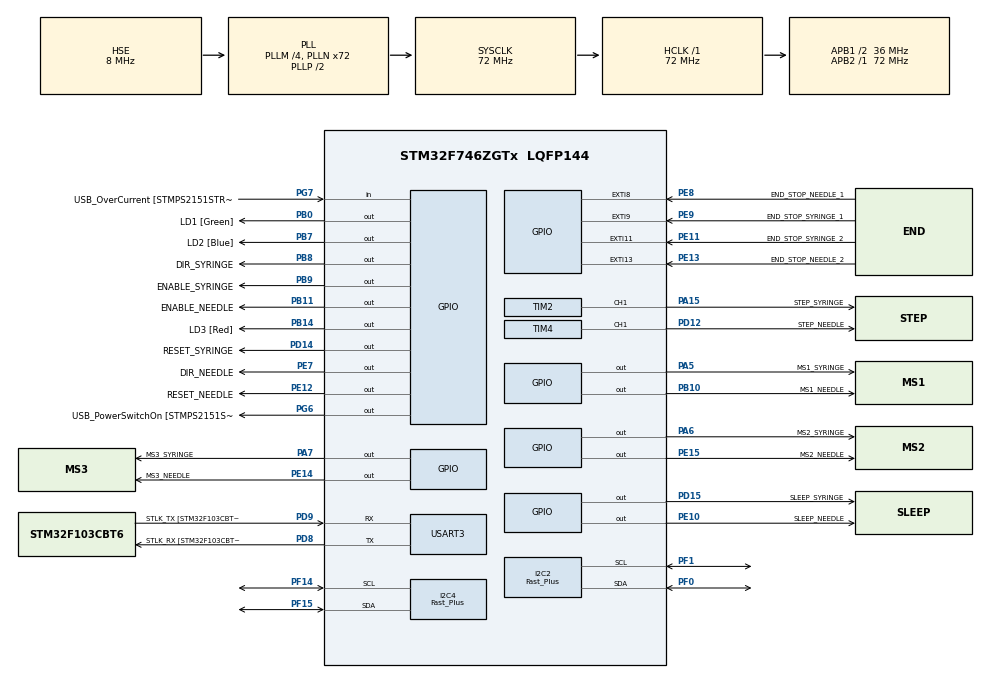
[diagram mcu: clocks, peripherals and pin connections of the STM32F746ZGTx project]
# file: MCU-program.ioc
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I2C2.I2C_Speed_Mode=I2C_Fast_Plus
I2C2.Timing=0x00100515
I2C4.I2C_Speed_Mode=I2C_Fast_Plus
I2C4.Timing=0x00100515
Mcu.Family=STM32F7
Mcu.Name=STM32F746ZGTx
Mcu.Package=LQFP144
NVIC.EXTI15_10_IRQn=true\:0\:0\:false\:false\:true\:true\:true\:true
NVIC.EXTI9_5_IRQn=true\:0\:0\:false\:false\:true\:true\:true\:true
NVIC.PriorityGroup=NVIC_PRIORITYGROUP_4
NVIC.TIM3_IRQn=true\:0\:0\:false\:false\:true\:true\:true\:true
NVIC.TIM5_IRQn=true\:0\:0\:false\:false\:true\:true\:true\:true
NVIC.TIM6_DAC_IRQn=true\:0\:0\:false\:false\:true\:true\:true\:true
NVIC.TIM7_IRQn=true\:0\:0\:false\:false\:true\:true\:true\:true
NVIC.USART3_IRQn=true\:0\:0\:false\:false\:true\:true\:true\:true
PA13.GPIO_Label=TMS
PA13.Mode=Serial_Wire
PA13.Signal=SYS_JTMS-SWDIO
PA14.GPIO_Label=TCK
PA14.Mode=Serial_Wire
PA14.Signal=SYS_JTCK-SWCLK
PA15.GPIO_Label=STEP_SYRINGE
PA15.Signal=S_TIM2_CH1_ETR
PA5.GPIO_Label=MS1_SYRINGE
PA5.Signal=GPIO_Output
PA6.GPIO_Label=MS2_SYRINGE
PA6.Signal=GPIO_Output
PA7.GPIO_Label=MS3_SYRINGE
PA7.Signal=GPIO_Output
PB0.GPIO_Label=LD1 [Green]
PB0.Signal=GPIO_Output
PB10.GPIO_Label=MS1_NEEDLE
PB10.Signal=GPIO_Output
PB11.GPIO_Label=ENABLE_NEEDLE
PB11.Signal=GPIO_Output
PB14.GPIO_Label=LD3 [Red]
PB14.Signal=GPIO_Output
PB7.GPIO_Label=LD2 [Blue]
PB7.Signal=GPIO_Output
PB8.GPIO_Label=DIR_SYRINGE
PB8.Signal=GPIO_Output
PB9.GPIO_Label=ENABLE_SYRINGE
PB9.Signal=GPIO_Output
PC14/OSC32_IN.Mode=LSE-External-Oscillator
PC14/OSC32_IN.Signal=RCC_OSC32_IN
PC15/OSC32_OUT.Mode=LSE-External-Oscillator
PC15/OSC32_OUT.Signal=RCC_OSC32_OUT
PD12.GPIO_Label=STEP_NEEDLE
PD12.Signal=S_TIM4_CH1
PD14.GPIO_Label=RESET_SYRINGE
PD14.Signal=GPIO_Output
PD15.GPIO_Label=SLEEP_SYRINGE
PD15.Signal=GPIO_Output
PD8.GPIO_Label=STLK_RX [STM32F103CBT6_PA3]
PD8.Mode=Asynchronous
PD8.Signal=USART3_TX
PD9.GPIO_Label=STLK_TX [STM32F103CBT6_PA2]
PD9.Mode=Asynchronous
PD9.Signal=USART3_RX
PE10.GPIO_Label=SLEEP_NEEDLE
PE10.Signal=GPIO_Output
PE11.GPIO_Label=END_STOP_SYRINGE_2
PE11.GPIO_ModeDefaultEXTI=GPIO_MODE_IT_FALLING
PE11.GPIO_PuPd=GPIO_PULLUP
PE11.Signal=GPXTI11
PE12.GPIO_Label=RESET_NEEDLE
PE12.Signal=GPIO_Output
PE13.GPIO_Label=END_STOP_NEEDLE_2
PE13.GPIO_ModeDefaultEXTI=GPIO_MODE_IT_FALLING
PE13.GPIO_PuPd=GPIO_PULLUP
PE13.Signal=GPXTI13
PE14.GPIO_Label=MS3_NEEDLE
PE14.Signal=GPIO_Output
PE15.GPIO_Label=MS2_NEEDLE
PE15.Signal=GPIO_Output
PE7.GPIO_Label=DIR_NEEDLE
PE7.Signal=GPIO_Output
PE8.GPIO_Label=END_STOP_NEEDLE_1
PE8.GPIO_ModeDefaultEXTI=GPIO_MODE_IT_FALLING
PE8.GPIO_PuPd=GPIO_PULLUP
PE8.Signal=GPXTI8
PE9.GPIO_Label=END_STOP_SYRINGE_1
PE9.GPIO_ModeDefaultEXTI=GPIO_MODE_IT_FALLING
PE9.GPIO_PuPd=GPIO_PULLUP
PE9.Signal=GPXTI9
PF0.Mode=I2C
PF0.Signal=I2C2_SDA
PF1.Mode=I2C
PF1.Signal=I2C2_SCL
PF14.Mode=I2C
PF14.Signal=I2C4_SCL
PF15.Mode=I2C
PF15.Signal=I2C4_SDA
PG6.GPIO_Label=USB_PowerSwitchOn [STMPS2151STR_EN]
PG6.Signal=GPIO_Output
PG7.GPIO_Label=USB_OverCurrent [STMPS2151STR_FAULT]
PG7.Signal=GPIO_Input
PH0/OSC_IN.GPIO_Label=MCO [STM32F103CBT6_PA8]
PH0/OSC_IN.Mode=HSE-External-Clock-Source
PH0/OSC_IN.Signal=RCC_OSC_IN
PH1/OSC_OUT.Mode=HSE-External-Clock-Source
PH1/OSC_OUT.Signal=RCC_OSC_OUT
ProjectManager.HeapSize=0x200
ProjectManager.StackSize=0x400
ProjectManager.TargetToolchain=STM32CubeIDE
RCC.48MHZClocksFreq_Value=24000000
RCC.AHBFreq_Value=72000000
RCC.APB1CLKDivider=RCC_HCLK_DIV2
RCC.APB1Freq_Value=36000000
RCC.APB1TimFreq_Value=72000000
RCC.APB2Freq_Value=72000000
RCC.APB2TimFreq_Value=72000000
RCC.CortexFreq_Value=72000000
RCC.HCLKFreq_Value=72000000
RCC.HSE_VALUE=8000000
RCC.HSI_VALUE=16000000
RCC.PLLM=4
RCC.PLLMUL=RCC_PLL_MUL9
RCC.PLLN=72
RCC.PLLQ=3
RCC.PLLSourceVirtual=RCC_PLLSOURCE_HSE
RCC.PRESCALERUSB=RCC_USBCLKSOURCE_PLL_DIV1_5
RCC.SYSCLKFreq_VALUE=72000000
RCC.SYSCLKSource=RCC_SYSCLKSOURCE_PLLCLK
RCC.SYSCLKSourceVirtual=RCC_SYSCLKSOURCE_PLLCLK
RCC.USBFreq_Value=48000000
RCC.VCOOutputFreq_Value=144000000
SH.S_TIM2_CH1_ETR.0=TIM2_CH1,PWM Generation1 CH1
SH.S_TIM4_CH1.0=TIM4_CH1,PWM Generation1 CH1
TIM2.Channel-PWM\ Generation1\ CH1=TIM_CHANNEL_1
TIM2.Period=999
TIM2.Prescaler=71
TIM2.Pulse-PWM\ Generation1\ CH1=499
TIM2.TIM_MasterOutputTrigger=TIM_TRGO_UPDATE
TIM3.Period=0
TIM4.Channel-PWM\ Generation1\ CH1=TIM_CHANNEL_1
TIM4.Period=999
TIM4.Prescaler=71
TIM4.Pulse-PWM\ Generation1\ CH1=499
TIM4.TIM_MasterOutputTrigger=TIM_TRGO_UPDATE
TIM5.Period=0
TIM6.AutoReloadPreload=TIM_AUTORELOAD_PRELOAD_ENABLE
TIM6.Period=1999
TIM6.Prescaler=7199
TIM7.AutoReloadPreload=TIM_AUTORELOAD_PRELOAD_ENABLE
TIM7.Period=1999
TIM7.Prescaler=7199
USART3.VirtualMode-Asynchronous=VM_ASYNC
VP_TIM2_VS_ClockSourceINT.Mode=Internal
VP_TIM3_VS_ClockSourceITR.Mode=TriggerSource_ITR1
VP_TIM3_VS_ControllerModeClock.Mode=Clock Mode
VP_TIM4_VS_ClockSourceINT.Mode=Internal
VP_TIM5_VS_ClockSourceITR.Mode=TriggerSource_ITR2
VP_TIM5_VS_ControllerModeClock.Mode=Clock Mode
VP_TIM6_VS_ClockSourceINT.Mode=Enable_Timer
VP_TIM7_VS_ClockSourceINT.Mode=Enable_Timer
board=NUCLEO-F746ZG

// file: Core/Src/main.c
/* USER CODE BEGIN Header */
/**
  ******************************************************************************
  * @file           : main.c
  * @brief          : Main program body
  ******************************************************************************
  * @attention
  *
  * Copyright (c) 2022 STMicroelectronics.
  * All rights reserved.
  *
  * This software is licensed under terms that can be found in the LICENSE file
  * in the root directory of this software component.
  * If no LICENSE file comes with this software, it is provided AS-IS.
  *
  ******************************************************************************
  */
/* USER CODE END Header */
#include "main.h"
#include "i2c.h"
#include "tim.h"
#include "usart.h"
#include "gpio.h"

/* USER CODE BEGIN Includes */
// Motor drive
#include "A4988_Drive.h"
// Sensor
#include "VL6180X.h"
// Screen
#include "SSD1306_OLED.h"
#include "GFX_BW.h"
#include "fonts/fonts.h"
// Temperature sensor
#include "BMPXX80.h"
// Standard C library
#include "stdio.h"
#include "stdlib.h"
#include "string.h"
/* USER CODE END Includes */

/* USER CODE BEGIN PD */
//
// Direction control
//
#define FORWARD_NEEDLE 	RIGHT_DIR
#define BACK_NEEDLE 	LEFT_DIR
#define SUCK_SYRINGE	RIGHT_DIR
#define BLOW_SYRINGE	LEFT_DIR
//
// Control type
//
#define OPEN_LOOP 1
#define CLOSE_LOOP 2
/* USER CODE END PD */

/* USER CODE BEGIN PV */
//
// Motor controllers
//
A4988_Drive Syringe = {	.NAME = "SYRINGE",
						.STEPS = 200,
						.RESOLUTION = HALF_STEP,
						.PORT_DIR = DIR_SYRINGE_GPIO_Port,
						.PIN_DIR = DIR_SYRINGE_Pin,
						.PORT_ENABLE = ENABLE_SYRINGE_GPIO_Port,
						.PIN_ENABLE = ENABLE_SYRINGE_Pin,
						.PORT_MS1 = MS1_SYRINGE_GPIO_Port,
						.PIN_MS1 = MS1_SYRINGE_Pin,
						.PORT_MS2 = MS2_SYRINGE_GPIO_Port,
						.PIN_MS2 = MS2_SYRINGE_Pin,
						.PORT_MS3 = MS3_SYRINGE_GPIO_Port,
						.PIN_MS3 = MS3_SYRINGE_Pin,
						.STEP_mm_RESOLUTION = 0.01
						,.PORT_RESET = RESET_SYRINGE_GPIO_Port,
						.PIN_RESET = RESET_SYRINGE_Pin,
						.PORT_SLEEP = SLEEP_SYRINGE_GPIO_Port,
						.PIN_SLEEP = SLEEP_SYRINGE_Pin,
						.TIM_STEP = &htim2,
						.TIM_STEP_CHANNEL = TIM_CHANNEL_1,
						.TIM_COUNTER_SLAVE = &htim3
						};
A4988_Drive Needle = {	.NAME = "NEEDLE",
						.STEPS = 200,
						.RESOLUTION = HALF_STEP,
						.STEP_mm_RESOLUTION = 0.005
						,.PORT_DIR = DIR_NEEDLE_GPIO_Port,
						.PIN_DIR = DIR_NEEDLE_Pin,
						.PORT_ENABLE = ENABLE_NEEDLE_GPIO_Port,
						.PIN_ENABLE = ENABLE_NEEDLE_Pin,
						.PORT_MS1 = MS1_NEEDLE_GPIO_Port,
						.PIN_MS1 = MS1_NEEDLE_Pin,
						.PORT_MS2 = MS2_NEEDLE_GPIO_Port,
						.PIN_MS2 = MS2_NEEDLE_Pin,
						.PORT_MS3 = MS3_NEEDLE_GPIO_Port,
						.PIN_MS3 = MS3_NEEDLE_Pin,
						.PORT_RESET = RESET_NEEDLE_GPIO_Port,
						.PIN_RESET = RESET_NEEDLE_Pin,
						.PORT_SLEEP = SLEEP_NEEDLE_GPIO_Port,
						.PIN_SLEEP = SLEEP_NEEDLE_Pin,
						.TIM_STEP = &htim4,
						.TIM_STEP_CHANNEL = TIM_CHANNEL_1,
						.TIM_COUNTER_SLAVE = &htim5
						};
//
// Control type
//
char Control_type = CLOSE_LOOP;
//
// Distance Sensors
//
VL6180X_ Syringe_sensor;
VL6180X_ Needle_sensor;
volatile uint16_t MEASURE_Needle = 0; // distance in mm
volatile uint16_t MEASURE_Syringe = 0; // distance in mm
//
// Control
//
volatile uint16_t Set_distance_needle = 0;
volatile uint16_t Set_distance_syringe = 0;
//
// USART communication
//
uint8_t Buffor_USART[128], Buffor_Rx_USART[4];
uint16_t length_Buffor_USART;
//
// OLED screen print
//
char Message_OLED[32];
uint16_t length_Buffor_OLED;
//
// Soft timer
//
uint32_t SoftTimer_OLED = 0;
uint32_t SoftTimer_USART = 0;
//
// Temperature sensor
//
float Temperature = 0;
int32_t Pressure = 0;
/* USER CODE END PV */

void SystemClock_Config(void);

int main(void)
{

  /* MCU Configuration--------------------------------------------------------*/

  /* Reset of all peripherals, Initializes the Flash interface and the Systick. */
  HAL_Init();

  /* Configure the system clock */
  SystemClock_Config();

  /* Initialize all configured peripherals */
  MX_GPIO_Init();
  MX_USART3_UART_Init();
  MX_TIM2_Init();
  MX_TIM3_Init();
  MX_TIM5_Init();
  MX_TIM6_Init();
  MX_TIM7_Init();
  MX_I2C2_Init();
  MX_I2C4_Init();
  MX_TIM4_Init();
  /* USER CODE BEGIN 2 */
  	  // Drive initialization
  Init_A4988(&Syringe);
  Init_A4988(&Needle);
  	  // Sensor initialization
  VL6180X_Init(&Syringe_sensor, &hi2c4);
  VL6180X_Init(&Needle_sensor, &hi2c2);
  configureDefault_VL6180X(&Syringe_sensor);
  configureDefault_VL6180X(&Needle_sensor);
  	  // Initial measurement
  MEASURE_Needle = readRangeSingleMillimeters_VL6180X(&Needle_sensor);
  MEASURE_Syringe = readRangeSingleMillimeters_VL6180X(&Syringe_sensor);
	  // Control initialization
  if (Control_type == CLOSE_LOOP) {
	  HAL_TIM_Base_Start_IT(&htim6); // Needle - 5Hz
	  HAL_TIM_Base_Start_IT(&htim7); // Syringe - 5Hz
	  HAL_TIM_Base_Stop_IT(Syringe.TIM_COUNTER_SLAVE); // Stop counting impulses for syringe
	  HAL_TIM_Base_Stop_IT(Needle.TIM_COUNTER_SLAVE); // Stop counting impulses for needle
  }else if (Control_type == OPEN_LOOP) {
	  HAL_TIM_Base_Start_IT(&htim6); // Needle - 5Hz
	  HAL_TIM_Base_Start_IT(&htim7); // Syringe - 5Hz
  }
  	  // Temperature sensor initialization
  BMP280_Init(&hi2c2, BMP280_TEMPERATURE_16BIT, BMP280_STANDARD, BMP280_FORCEDMODE); // TODO Change i2c
  BMP280_ReadTemperatureAndPressure(&Temperature, &Pressure);
  	  // Communication start
  HAL_UART_Receive_IT(&huart3, Buffor_Rx_USART, 4);
  	  // Screen initialization
  SSD1306_Init(&hi2c2); // TODO change i2c
  GFX_SetFont(font_8x5);
  GFX_SetFontSize(1);
  SSD1306_Clear(BLACK);
  SSD1306_Display();
  /* USER CODE END 2 */

  /* Infinite loop */
  /* USER CODE BEGIN WHILE */
  while (1)
  {
	  //
	  // Screen - displaying the data
	  //
	  if ((HAL_GetTick() - SoftTimer_OLED) > 500) {
		  SoftTimer_OLED = HAL_GetTick();
		  SSD1306_Clear(BLACK);
		  sprintf(Message_OLED, "Needle position");
		  GFX_DrawString(20, 0, Message_OLED, WHITE, 0);
		  GFX_DrawLine(0, 9, 128, 9, WHITE);
		  sprintf(Message_OLED, "Set: %d mm",Set_distance_needle);
		  GFX_DrawString(0, 12, Message_OLED, WHITE, 0);
		  sprintf(Message_OLED, "Measure: %d mm",MEASURE_Needle);
		  GFX_DrawString(0, 22, Message_OLED, WHITE, 0);
		  sprintf(Message_OLED, "Syringe position");
		  GFX_DrawString(15, 32, Message_OLED, WHITE, 0);
		  GFX_DrawLine(0, 41, 128, 41, WHITE);
		  sprintf(Message_OLED, "Set: %d mm",Set_distance_syringe);
		  GFX_DrawString(0, 44, Message_OLED, WHITE, 0);
		  sprintf(Message_OLED, "Measure: %d mm",MEASURE_Syringe);
		  GFX_DrawString(0, 54, Message_OLED, WHITE, 0);
		  SSD1306_Display();
	  }
	  //
	  // Communication - sending the data
	  //
	  if ((HAL_GetTick() - SoftTimer_USART) > 400) {
		  SoftTimer_USART = HAL_GetTick();
		  length_Buffor_USART = sprintf((char*)Buffor_USART,"{\"NP\":%d,\"SP\":%d,\"NS\":%d,\"SS\":%d,\"TM\":%.1f,\"FN\":%d,\"ST\":%d}\n\r",
				  	  	  	  	  	  	  	  	  	  	  	 MEASURE_Needle,MEASURE_Syringe,Set_distance_needle,Set_distance_syringe,Temperature,0,1);
		  HAL_UART_Transmit(&huart3, Buffor_USART, length_Buffor_USART, 1000);
	}
    /* USER CODE END WHILE */

  }
}

void SystemClock_Config(void)
{
  RCC_OscInitTypeDef RCC_OscInitStruct = {0};
  RCC_ClkInitTypeDef RCC_ClkInitStruct = {0};

  /** Configure LSE Drive Capability
  */
  HAL_PWR_EnableBkUpAccess();

  /** Configure the main internal regulator output voltage
  */
  __HAL_RCC_PWR_CLK_ENABLE();
  __HAL_PWR_VOLTAGESCALING_CONFIG(PWR_REGULATOR_VOLTAGE_SCALE3);

  /** Initializes the RCC Oscillators according to the specified parameters
  * in the RCC_OscInitTypeDef structure.
  */
  RCC_OscInitStruct.OscillatorType = RCC_OSCILLATORTYPE_HSE;
  RCC_OscInitStruct.HSEState = RCC_HSE_BYPASS;
  RCC_OscInitStruct.PLL.PLLState = RCC_PLL_ON;
  RCC_OscInitStruct.PLL.PLLSource = RCC_PLLSOURCE_HSE;
  RCC_OscInitStruct.PLL.PLLM = 4;
  RCC_OscInitStruct.PLL.PLLN = 72;
  RCC_OscInitStruct.PLL.PLLP = RCC_PLLP_DIV2;
  RCC_OscInitStruct.PLL.PLLQ = 3;
  if (HAL_RCC_OscConfig(&RCC_OscInitStruct) != HAL_OK)
  {
    Error_Handler();
  }

  /** Initializes the CPU, AHB and APB buses clocks
  */
  RCC_ClkInitStruct.ClockType = RCC_CLOCKTYPE_HCLK|RCC_CLOCKTYPE_SYSCLK
                              |RCC_CLOCKTYPE_PCLK1|RCC_CLOCKTYPE_PCLK2;
  RCC_ClkInitStruct.SYSCLKSource = RCC_SYSCLKSOURCE_PLLCLK;
  RCC_ClkInitStruct.AHBCLKDivider = RCC_SYSCLK_DIV1;
  RCC_ClkInitStruct.APB1CLKDivider = RCC_HCLK_DIV2;
  RCC_ClkInitStruct.APB2CLKDivider = RCC_HCLK_DIV1;

  if (HAL_RCC_ClockConfig(&RCC_ClkInitStruct, FLASH_LATENCY_2) != HAL_OK)
  {
    Error_Handler();
  }
}

/* USER CODE BEGIN 4 */
//
// TIM callback
//
void HAL_TIM_PeriodElapsedCallback(TIM_HandleTypeDef *htim){
	//
	// Motor driver callback - open loop control
	//
	if(htim == Syringe.TIM_COUNTER_SLAVE){	// Syringe
		HAL_TIM_PWM_Stop(Syringe.TIM_STEP, Syringe.TIM_STEP_CHANNEL); // Stop syringe
	}
	else if(htim == Needle.TIM_COUNTER_SLAVE){ // Needle
		HAL_TIM_PWM_Stop(Needle.TIM_STEP, Needle.TIM_STEP_CHANNEL); // Stop needle
	}
	//
	// Motor driver callback - close loop control
	//
	else if (htim->Instance == TIM6) {
		// Needle
		MEASURE_Needle = readRangeSingleMillimeters_VL6180X(&Needle_sensor); // Measurement
		if (Needle.Current_Direction == FORWARD_NEEDLE) {
			if(MEASURE_Needle <= Set_distance_needle){ // TODO check if correct
				HAL_TIM_PWM_Stop(Needle.TIM_STEP, Needle.TIM_STEP_CHANNEL); // Stop needle
			}
//			else{
//				HAL_TIM_PWM_Start(Needle.TIM_STEP, Needle.TIM_STEP_CHANNEL); // Start needle
//			}
		} else {
			if(MEASURE_Needle >= Set_distance_needle){ // TODO check if correct
				HAL_TIM_PWM_Stop(Needle.TIM_STEP, Needle.TIM_STEP_CHANNEL); // Stop needle
			}
//			else{
//				HAL_TIM_PWM_Start(Needle.TIM_STEP, Needle.TIM_STEP_CHANNEL); // Start needle
//			}
		}
	}
	else if (htim->Instance == TIM7) {
		// Syringe
		MEASURE_Syringe = readRangeSingleMillimeters_VL6180X(&Syringe_sensor); // Measurement
		if (Syringe.Current_Direction == BLOW_SYRINGE) { // TODO check if correct
			if (MEASURE_Syringe <= Set_distance_syringe) {
				HAL_TIM_PWM_Stop(Syringe.TIM_STEP, Syringe.TIM_STEP_CHANNEL); // Stop syringe
			}
//			else{
//				HAL_TIM_PWM_Start(Syringe.TIM_STEP, Syringe.TIM_STEP_CHANNEL); // Stop syringe
//			}
		} else {
			if (MEASURE_Syringe >= Set_distance_syringe) { // TODO check if correct
				HAL_TIM_PWM_Stop(Syringe.TIM_STEP, Syringe.TIM_STEP_CHANNEL); // Stop syringe
			}
//			else{
//				HAL_TIM_PWM_Sart(Syringe.TIM_STEP, Syringe.TIM_STEP_CHANNEL); // Start syringe
//			}
		}
	}
}
//
// Safety interlock (limit switch)
//
void HAL_GPIO_EXTI_Callback(uint16_t GPIO_Pin){
	if(GPIO_Pin == END_STOP_SYRINGE_1_Pin){ // END STOP Syringe Near Drive
		HAL_TIM_PWM_Stop(Syringe.TIM_STEP, Syringe.TIM_STEP_CHANNEL); // Stop syringe
		Set_Direction_A4988(&Syringe, LEFT_DIR); // Set different direction
		if (Control_type == CLOSE_LOOP) {
			Set_distance_syringe = 100; // TODO change
			HAL_TIM_PWM_Start(Syringe.TIM_STEP, Syringe.TIM_STEP_CHANNEL); // Stop needle
		} else {
			__HAL_TIM_SetCounter(Syringe.TIM_COUNTER_SLAVE, 0); // Reset Counter Syringe
			Rotate_mm_A4988(&Syringe, 10); // Recoil
		}
	}else if(GPIO_Pin == END_STOP_SYRINGE_2_Pin){ // END STOP Syringe Near Syringe
		HAL_TIM_PWM_Stop(Syringe.TIM_STEP, Syringe.TIM_STEP_CHANNEL); // Stop syringe
		Set_Direction_A4988(&Syringe, RIGHT_DIR); // Set different direction
		if (Control_type == CLOSE_LOOP) {
			Set_distance_syringe = 10; // TODO change
			HAL_TIM_PWM_Start(Syringe.TIM_STEP, Syringe.TIM_STEP_CHANNEL); // Stop needle
		} else {
			__HAL_TIM_SetCounter(Syringe.TIM_COUNTER_SLAVE, 0); // Reset Counter Syringe
			Rotate_mm_A4988(&Syringe, 10); // Recoil
		}
	}else if(GPIO_Pin == END_STOP_NEEDLE_1_Pin){ // END STOP Needle Near Drive
		HAL_TIM_PWM_Stop(Needle.TIM_STEP, Needle.TIM_STEP_CHANNEL); // Stop needle
		Set_Direction_A4988(&Needle, RIGHT_DIR); // Set different direction
		if (Control_type == CLOSE_LOOP) {
			Set_distance_needle = 100; // TODO change
			HAL_TIM_PWM_Start(Needle.TIM_STEP, Needle.TIM_STEP_CHANNEL); // Stop needle
		} else {
			__HAL_TIM_SetCounter(Needle.TIM_COUNTER_SLAVE, 0); // Reset Counter Needle
			Rotate_mm_A4988(&Needle, 10); // Recoil
		}
	}else if(GPIO_Pin == END_STOP_NEEDLE_2_Pin){ // END STOP Needle Near Needle
		HAL_TIM_PWM_Stop(Needle.TIM_STEP, Needle.TIM_STEP_CHANNEL); // Stop needle
		Set_Direction_A4988(&Needle, LEFT_DIR); // Set different direction
		if (Control_type == CLOSE_LOOP) {
			Set_distance_needle = 10; // TODO change
			HAL_TIM_PWM_Start(Needle.TIM_STEP, Needle.TIM_STEP_CHANNEL); // Stop needle
		} else {
			__HAL_TIM_SetCounter(Needle.TIM_COUNTER_SLAVE, 0); // Reset Counter Needle
			Rotate_mm_A4988(&Needle, 10); // Recoil
		}
	}
}
//
// Communication interface
//
void HAL_UART_RxCpltCallback(UART_HandleTypeDef *huart){
	if(huart->Instance == USART3)
	{
		// Start of handling message
		HAL_GPIO_WritePin(LD1_GPIO_Port, LD1_Pin, GPIO_PIN_SET);
		//
		// Handling the message
		//
			// TODO implement
		// End of handling message
		HAL_GPIO_WritePin(LD1_GPIO_Port, LD1_Pin, GPIO_PIN_RESET);
		// Listening setup
		HAL_UART_Receive_IT(&huart3, Buffor_Rx_USART, 4);
	}
}
/* USER CODE END 4 */

void Error_Handler(void)
{
  __disable_irq();
  while (1)
  {
  }
}
